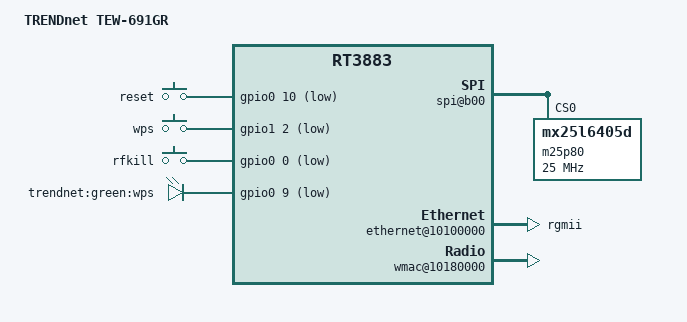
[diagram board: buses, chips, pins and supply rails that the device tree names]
/dts-v1/;

/include/ "rt3883.dtsi"

/ {
	#address-cells = <1>;
	#size-cells = <1>;
	compatible = "TEW-691GR", "ralink,rt3883-soc";
	model = "TRENDnet TEW-691GR";

	memorydetect {
		ralink,memory = <0x0 0x200000 0x10000000>;
	};

	palmbus@10000000 {
		sysc@0 {
			ralink,pinmmux = "uartlite", "spi";
			ralink,gpiomux = "i2c", "jtag";
			ralink,uartmux = "gpio";
			ralink,wdtmux = <1>;
		};

		timer@100 {
			status = "okay";
		};

		gpio0: gpio@600 {
			status = "okay";
		};

		gpio1: gpio@638 {
			status = "okay";
		};

		spi@b00 {
			status = "okay";

			m25p80@0 {
				#address-cells = <1>;
				#size-cells = <1>;
				compatible = "mx25l6405d";
				reg = <0 0>;
				linux,modalias = "m25p80";
				spi-max-frequency = <25000000>;
			};
		};
	};

	ethernet@10100000 {
		status = "okay";
		ralink,phy-mask = <0x1>;
		phy-mode = "rgmii";
	};

	wmac@10180000 {
		status = "okay";
		ralink,5ghz = <0>;
	};

	gpio-keys-polled {
		compatible = "gpio-keys-polled";
		#address-cells = <1>;
		#size-cells = <0>;
		poll-interval = <100>;
		reset {
			label = "reset";
			gpios = <&gpio0 10 1>;
			linux,code = <0x198>;
		};
		wps {
			label = "wps";
			gpios = <&gpio1 2 1>;
			linux,code = <0x211>;
		};
		rfkill {
			label = "rfkill";
			gpios = <&gpio0 0 1>;
			linux,code = <0xf7>;
		};
	};

	gpio-leds {
		compatible = "gpio-leds";
		wps {
			label = "trendnet:green:wps";
			gpios = <&gpio0 9 1>;
		};
	};
};
